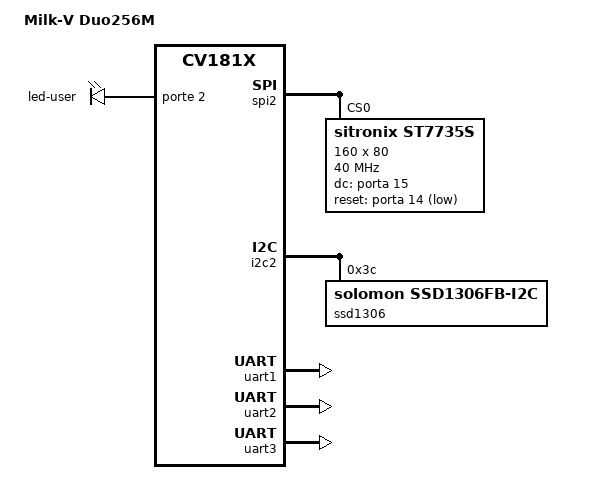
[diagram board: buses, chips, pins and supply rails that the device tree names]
/dts-v1/;
#include "cv181x_base_riscv.dtsi"
#include "cv181x_asic_qfn.dtsi"
#include "cv181x_asic_sd.dtsi"
#include "cv181x_default_memmap.dtsi"

&mipi_rx{
	snsr-reset = <&portc 17 GPIO_ACTIVE_LOW>, <&portc 17 GPIO_ACTIVE_LOW>, <&portc 17 GPIO_ACTIVE_LOW>;
};

&mipi_tx {
	/delete-property/ reset-gpio;
	/delete-property/ pwm-gpio;
	/delete-property/ power-ct-gpio;
};

&spi2 {
	status = "okay";
	/delete-node/ spidev@0;
    st7735s: st7735s@0 {
        status = "okay";
        compatible = "sitronix,st7735s";
        reg = <0>; // SPI片选编号
        spi-max-frequency = <40000000>; // SPI时钟频率，根据屏幕规格调整
	
	// cs-gpios = <&porta 16 GPIO_ACTIVE_LOW>;
	
        // GPIO控制引脚
        dc-gpios = <&porta 15 GPIO_ACTIVE_HIGH>; // 数据/命令选择引脚
        reset-gpios = <&porta 14 GPIO_ACTIVE_LOW>; // 复位引脚

        // 屏幕参数
        width = <160>; // 实际显示宽度
        height = <80>; // 实际显示高度
        rotation = <0>; // 显示旋转角度（0, 90, 180, 270）
	buswidth = <8>;
	fps = <30>;
	debug = <1>;
	
        // 供电配置（可选）
        // vcc-supply = <&vcc_3v3>; // 假设3.3V电源
        // backlight-supply = <&backlight_reg>; // 背光控制（若有）
    };
};

&i2c0 {
	status = "disabled";
};

&i2c4 {
	status = "disabled";
};

&i2c2 {
	status = "okay";
	
	ssd1306@3c {
		compatible = "solomon,ssd1306fb-i2c";
		reg = <0x3c>;
		solomon,width = <128>;
		solomon,height = <64>;
		solomon,page-offset = <0>;
        	solomon,contrast = <0xCF>;     // 对比度 0x81 0xCF
        	solomon,prechargep1 = <0xF>;   // 预充电 Phase1=15 (0xF)
        	solomon,prechargep2 = <0x1>;   // 预充电 Phase2=1 (0x1)
        	solomon,vcomh = <0x00>;        // VCOMH 0xDB 0x00
        	solomon,charge-pump = <0x14>;  // 电荷泵 0x8D 0x14
		solomon,segment-no-remap = <1>; // 启用段重映射（0xA1 命令）
        	// solomon,com-invdir;           // 行扫描反向 (0xC8)
        	// solomon,com-lrremap;          // COM左右重映射 (0xDA 0x12)
	};
};

&uart1 {
	status = "okay";
};

&uart2 {
	status = "okay";
};

&uart3 {
	status = "okay";
};

/ {
	model = "Milk-V Duo256M";
	
	leds {
		compatible = "gpio-leds";

		led-user {
			gpios = <&porte 2 GPIO_ACTIVE_HIGH>;
			linux,default-trigger = "activity";
		};
	};
};

